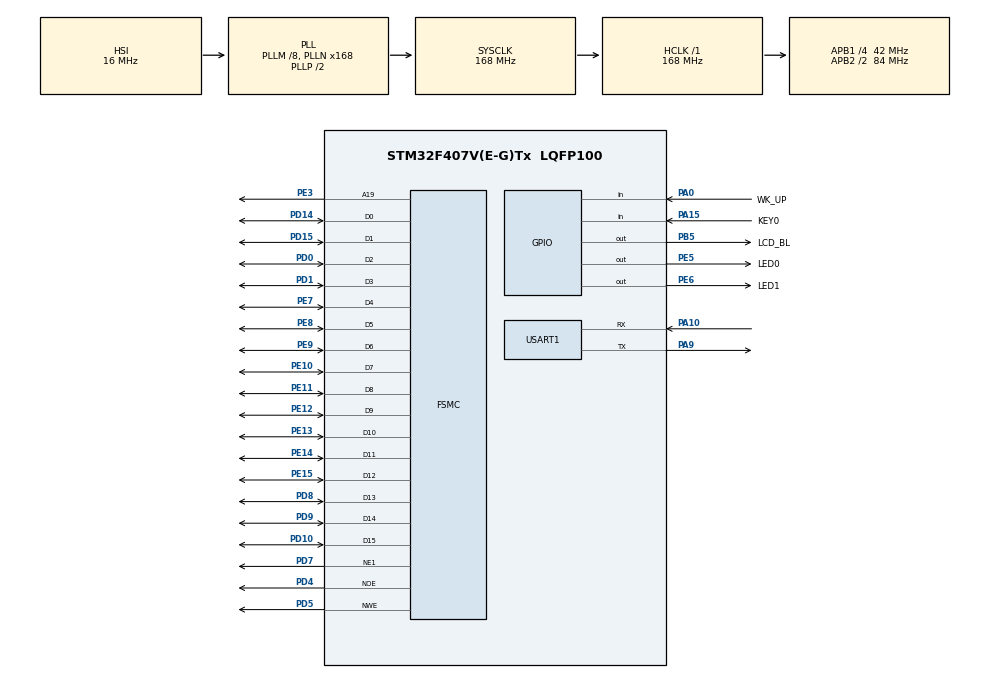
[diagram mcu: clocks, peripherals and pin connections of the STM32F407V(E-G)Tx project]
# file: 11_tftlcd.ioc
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FSMC.AddressSetupTime1=15
FSMC.BusTurnAroundDuration1=0
FSMC.DataSetupTime1=60
FSMC.ExtendedAddressSetupTime1=9
FSMC.ExtendedDataSetupTime1=9
FSMC.ExtendedMode1=FSMC_EXTENDED_MODE_ENABLE
Mcu.Family=STM32F4
Mcu.Name=STM32F407V(E-G)Tx
Mcu.Package=LQFP100
NVIC.PriorityGroup=NVIC_PRIORITYGROUP_2
NVIC.USART1_IRQn=true\:2\:2\:true\:false\:true\:true\:true\:true
PA0-WKUP.GPIO_Label=WK_UP
PA0-WKUP.GPIO_PuPd=GPIO_PULLDOWN
PA0-WKUP.Signal=GPIO_Input
PA10.Mode=Asynchronous
PA10.Signal=USART1_RX
PA13.Mode=Serial_Wire
PA13.Signal=SYS_JTMS-SWDIO
PA14.Mode=Serial_Wire
PA14.Signal=SYS_JTCK-SWCLK
PA15.GPIO_Label=KEY0
PA15.GPIO_PuPd=GPIO_PULLDOWN
PA15.Signal=GPIO_Input
PA9.Mode=Asynchronous
PA9.Signal=USART1_TX
PB5.GPIO_Label=LCD_BL
PB5.GPIO_PuPd=GPIO_PULLUP
PB5.GPIO_Speed=GPIO_SPEED_FREQ_HIGH
PB5.PinState=GPIO_PIN_SET
PB5.Signal=GPIO_Output
PC14-OSC32_IN.Mode=LSE-External-Oscillator
PC14-OSC32_IN.Signal=RCC_OSC32_IN
PC15-OSC32_OUT.Mode=LSE-External-Oscillator
PC15-OSC32_OUT.Signal=RCC_OSC32_OUT
PD0.Mode=16b-d1
PD0.Signal=FSMC_D2
PD1.Mode=16b-d1
PD1.Signal=FSMC_D3
PD10.Mode=16b-d1
PD10.Signal=FSMC_D15
PD14.Mode=16b-d1
PD14.Signal=FSMC_D0
PD15.Mode=16b-d1
PD15.Signal=FSMC_D1
PD4.Mode=Lcd1
PD4.Signal=FSMC_NOE
PD5.Mode=Lcd1
PD5.Signal=FSMC_NWE
PD7.Mode=NorPsramChipSelect1_1
PD7.Signal=FSMC_NE1
PD8.Mode=16b-d1
PD8.Signal=FSMC_D13
PD9.Mode=16b-d1
PD9.Signal=FSMC_D14
PE10.Mode=16b-d1
PE10.Signal=FSMC_D7
PE11.Mode=16b-d1
PE11.Signal=FSMC_D8
PE12.Mode=16b-d1
PE12.Signal=FSMC_D9
PE13.Mode=16b-d1
PE13.Signal=FSMC_D10
PE14.Mode=16b-d1
PE14.Signal=FSMC_D11
PE15.Mode=16b-d1
PE15.Signal=FSMC_D12
PE3.Mode=A19_1
PE3.Signal=FSMC_A19
PE5.GPIO_Label=LED0
PE5.GPIO_PuPd=GPIO_PULLUP
PE5.GPIO_Speed=GPIO_SPEED_FREQ_HIGH
PE5.PinState=GPIO_PIN_SET
PE5.Signal=GPIO_Output
PE6.GPIO_Label=LED1
PE6.GPIO_PuPd=GPIO_PULLUP
PE6.GPIO_Speed=GPIO_SPEED_FREQ_HIGH
PE6.PinState=GPIO_PIN_SET
PE6.Signal=GPIO_Output
PE7.Mode=16b-d1
PE7.Signal=FSMC_D4
PE8.Mode=16b-d1
PE8.Signal=FSMC_D5
PE9.Mode=16b-d1
PE9.Signal=FSMC_D6
PH0-OSC_IN.Mode=HSE-External-Oscillator
PH0-OSC_IN.Signal=RCC_OSC_IN
PH1-OSC_OUT.Mode=HSE-External-Oscillator
PH1-OSC_OUT.Signal=RCC_OSC_OUT
ProjectManager.HeapSize=0x200
ProjectManager.StackSize=0x400
ProjectManager.TargetToolchain=STM32CubeIDE
RCC.48MHZClocksFreq_Value=84000000
RCC.AHBFreq_Value=168000000
RCC.APB1CLKDivider=RCC_HCLK_DIV4
RCC.APB1Freq_Value=42000000
RCC.APB1TimFreq_Value=84000000
RCC.APB2CLKDivider=RCC_HCLK_DIV2
RCC.APB2Freq_Value=84000000
RCC.APB2TimFreq_Value=168000000
RCC.CortexFreq_Value=168000000
RCC.HCLKFreq_Value=168000000
RCC.HSE_VALUE=25000000
RCC.HSI_VALUE=16000000
RCC.PLLM=8
RCC.PLLN=168
RCC.SYSCLKFreq_VALUE=168000000
RCC.SYSCLKSource=RCC_SYSCLKSOURCE_PLLCLK
RCC.VCOOutputFreq_Value=336000000
USART1.VirtualMode=VM_ASYNC
board=custom

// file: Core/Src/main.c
/**
 ****************************************************************************************************
 * @file        main.c
 * @author      ALIENTEK
 * @brief       tftlcd code
 * @license     Copyright (C) 2012-2024, ALIENTEK
 ****************************************************************************************************
 * @attention
 *
 * platform     : ALIENTEK M100-STM32F407 board
 * website      : www.alientek.com
 * forum        : www.openedv.com/forum.php
 *
 * change logs  :
 * version      data         notes
 * V1.0         20240409     the first version
 *
 ****************************************************************************************************
 */

/* USER CODE BEGIN Header */

/* USER CODE END Header */
#include "main.h"
#include "usart.h"
#include "gpio.h"
#include "fsmc.h"

/* USER CODE BEGIN Includes */
#include "../../BSP/LED/led.h"
#include "../../BSP/KEY/key.h"
#include "../../BSP/LCD/lcd.h"
/* USER CODE END Includes */

/* USER CODE BEGIN PD */
/**
 * @brief   Displays information about the experiment
 * @param   None
 * @retval  None
 */
void stm32f407vg_show_mesg(void)
{
	/* The serial port outputs the experimental information */
	printf("\n");
	printf("********************************\r\n");
	printf("STM32F407\r\n");
	printf("TFTLCD Test\r\n");
	printf("ATOM@ALIENTEK\r\n");
	printf("********************************\r\n");
	printf("\r\n");
}
/* USER CODE END PD */

void SystemClock_Config(void);

int main(void)
{
  /* USER CODE BEGIN 1 */
  uint8_t x = 0;
  uint8_t lcd_id[12];
  /* USER CODE END 1 */

  /* MCU Configuration--------------------------------------------------------*/

  /* Reset of all peripherals, Initializes the Flash interface and the Systick. */
  HAL_Init();

  /* Configure the system clock */
  SystemClock_Config();

  /* Initialize all configured peripherals */
  MX_GPIO_Init();
  MX_USART1_UART_Init();
  MX_FSMC_Init();
  /* USER CODE BEGIN 2 */
  lcd_init();                                         /* Initialize LCD */
  stm32f407vg_show_mesg();
  sprintf((char *)lcd_id, "LCD ID:%04X", lcddev.id);  /* Print the LCD ID to the lcd id array */
  /* USER CODE END 2 */

  /* Infinite loop */
  /* USER CODE BEGIN WHILE */
  while (1)
  {
	  switch (x)
	  {
	  	  case 0:
	  		  lcd_clear(WHITE);
	  		  break;

	  	  case 1:
	  		  lcd_clear(BLACK);
	  		  break;

	  	  case 2:
	  		  lcd_clear(BLUE);
	  		  break;

	  	  case 3:
	  		  lcd_clear(RED);
	  		  break;

	  	  case 4:
	  		  lcd_clear(MAGENTA);
	  		  break;

	  	  case 5:
	  		  lcd_clear(GREEN);
	  		  break;

	  	  case 6:
	  		  lcd_clear(CYAN);
	  		  break;

	  	  case 7:
	  		  lcd_clear(YELLOW);
	  		  break;

	  	  case 8:
	  		  lcd_clear(BRRED);
	  		  break;

	  	  case 9:
	  		  lcd_clear(GRAY);
	  		  break;

	  	  case 10:
	  		  lcd_clear(LGRAY);
	  		  break;

	  	  case 11:
	  		  lcd_clear(BROWN);
	  		  break;
      }

	  lcd_show_string(10, 40, 240, 32, 32, "STM32", RED);
	  lcd_show_string(10, 80, 240, 24, 24, "TFTLCD TEST", RED);
	  lcd_show_string(10, 110, 240, 16, 16, "ATOM@ALIENTEK", RED);
	  lcd_show_string(10, 130, 240, 16, 16, (char *)lcd_id, RED); /* Display LCD ID */
	  x++;

	  if (x == 12)
	  {
	  	  x = 0;
	  }

	  LED0_TOGGLE();             /* flashing LED0 indicates that the system is running */
	  HAL_Delay(1000);   		 /* delay 1000ms */
    /* USER CODE END WHILE */

  }
}

void SystemClock_Config(void)
{
  RCC_OscInitTypeDef RCC_OscInitStruct = {0};
  RCC_ClkInitTypeDef RCC_ClkInitStruct = {0};

  /** Configure the main internal regulator output voltage
  */
  __HAL_RCC_PWR_CLK_ENABLE();
  __HAL_PWR_VOLTAGESCALING_CONFIG(PWR_REGULATOR_VOLTAGE_SCALE1);

  /** Initializes the RCC Oscillators according to the specified parameters
  * in the RCC_OscInitTypeDef structure.
  */
  RCC_OscInitStruct.OscillatorType = RCC_OSCILLATORTYPE_HSI;
  RCC_OscInitStruct.HSIState = RCC_HSI_ON;
  RCC_OscInitStruct.HSICalibrationValue = RCC_HSICALIBRATION_DEFAULT;
  RCC_OscInitStruct.PLL.PLLState = RCC_PLL_ON;
  RCC_OscInitStruct.PLL.PLLSource = RCC_PLLSOURCE_HSI;
  RCC_OscInitStruct.PLL.PLLM = 8;
  RCC_OscInitStruct.PLL.PLLN = 168;
  RCC_OscInitStruct.PLL.PLLP = RCC_PLLP_DIV2;
  RCC_OscInitStruct.PLL.PLLQ = 4;
  if (HAL_RCC_OscConfig(&RCC_OscInitStruct) != HAL_OK)
  {
    Error_Handler();
  }

  /** Initializes the CPU, AHB and APB buses clocks
  */
  RCC_ClkInitStruct.ClockType = RCC_CLOCKTYPE_HCLK|RCC_CLOCKTYPE_SYSCLK
                              |RCC_CLOCKTYPE_PCLK1|RCC_CLOCKTYPE_PCLK2;
  RCC_ClkInitStruct.SYSCLKSource = RCC_SYSCLKSOURCE_PLLCLK;
  RCC_ClkInitStruct.AHBCLKDivider = RCC_SYSCLK_DIV1;
  RCC_ClkInitStruct.APB1CLKDivider = RCC_HCLK_DIV4;
  RCC_ClkInitStruct.APB2CLKDivider = RCC_HCLK_DIV2;

  if (HAL_RCC_ClockConfig(&RCC_ClkInitStruct, FLASH_LATENCY_5) != HAL_OK)
  {
    Error_Handler();
  }
}

void Error_Handler(void)
{
  __disable_irq();
  while (1)
  {
  }
}
